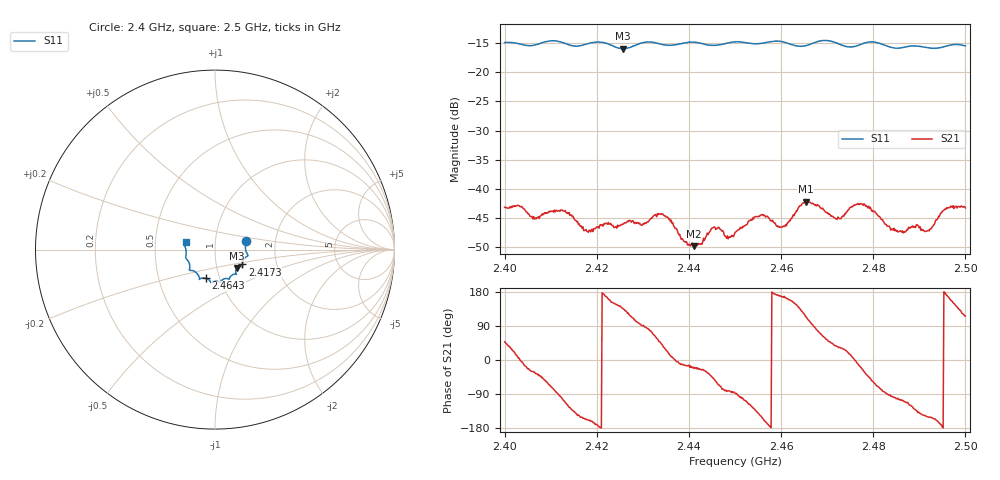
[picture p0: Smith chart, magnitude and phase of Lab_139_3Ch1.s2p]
# Hz S RI R 50
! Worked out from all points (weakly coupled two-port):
!   601 points, 2.4 GHz to 2.5 GHz, reference 50 ohm
!   highest |S21| = -42.24 dB at 2.4653 GHz (marker M1); lowest = -49.9 dB at 2.441 GHz (marker M2)
!   lowest |S11| = -15.9 dB at 2.4257 GHz (marker M3), VSWR 1.38, Z = 62.4 - j13.1 ohm
!   |S11| at or under -10 dB: start of sweep to end of sweep
!   S12 and S22 are empty: the file has one direction only
!   S11 on the Smith chart (normalised r, x): 2.4 GHz: 1.41, +0.14; 2.4173 GHz: 1.34, -0.23; 2.4643 GHz: 0.86, -0.28; 2.5 GHz: 0.72, +0.06
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2.4e9  0.1737 0.0492  0.0046 0.00515  0 0  0 0
2.403333e9  0.1728 0.0317  0.00701 3.18e-06  0 0  0 0
2.406667e9  0.172 -0.00674  0.00456 -0.00323  0 0  0 0
2.412667e9  0.1762 -0.0389  -0.0017 -0.00622  0 0  0 0
2.416667e9  0.1528 -0.0753  -0.00416 -0.00234  0 0  0 0
2.417333e9  0.1521 -0.0827  -0.00397 -0.00183  0 0  0 0
2.425667e9  0.1223 -0.1023  -0.00355 0.00347  0 0  0 0
2.433333e9  0.1127 -0.1367  0.00361 0.00477  0 0  0 0
2.441e9  0.078 -0.1646  0.00303 -0.00104  0 0  0 0
2.445167e9  0.0537 -0.1621  0.00311 -0.00338  0 0  0 0
2.45e9  0.0297 -0.1807  0.000201 -0.00419  0 0  0 0
2.455833e9  -0.00539 -0.1781  -0.00526 -0.00288  0 0  0 0
2.460667e9  -0.0253 -0.1802  -0.00465 0.000973  0 0  0 0
2.464333e9  -0.0502 -0.16  -0.00471 0.00537  0 0  0 0
2.465333e9  -0.0623 -0.1579  -0.00326 0.00701  0 0  0 0
2.466667e9  -0.0761 -0.1594  -0.000625 0.00738  0 0  0 0
2.4725e9  -0.0888 -0.152  0.00469 0.00303  0 0  0 0
2.477667e9  -0.1329 -0.116  0.00662 -0.00307  0 0  0 0
2.483333e9  -0.1406 -0.0893  -0.000215 -0.00475  0 0  0 0
2.491667e9  -0.1609 -0.0288  -0.00371 -0.00219  0 0  0 0
2.4955e9  -0.1661 0.015  -0.00657 0.000188  0 0  0 0
2.5e9  -0.1636 0.0418  -0.00296 0.00615  0 0  0 0
